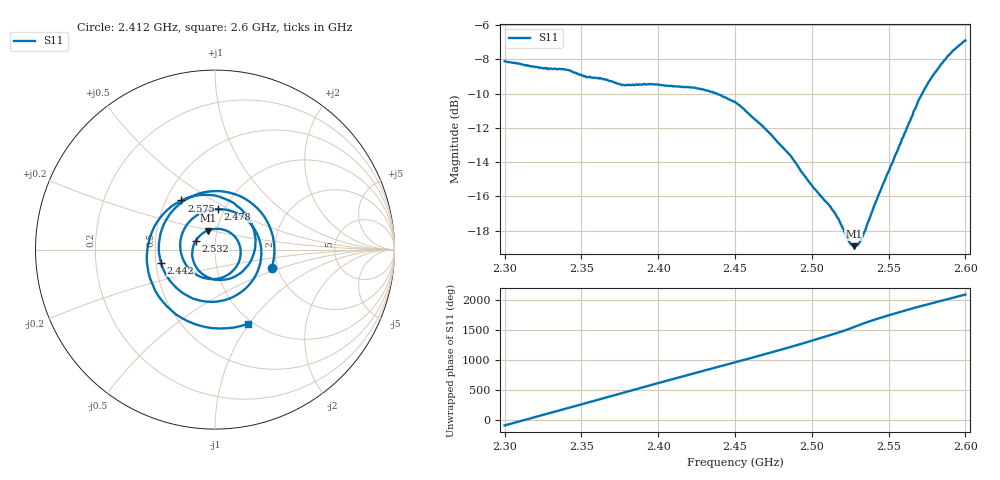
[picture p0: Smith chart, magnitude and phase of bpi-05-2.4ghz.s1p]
! NanoVNA-App
! Date: 2026-05-22 17:54:31
! Start: 2.3GHz Stop: 2.6GHz Points: 401
! S-Parameter data: F S11
# Hz S RI R 50
!  Frequency  S11_Real  S11_Imag
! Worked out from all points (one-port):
!   401 points, 2.3 GHz to 2.6 GHz, reference 50 ohm
!   lowest |S11| = -18.9 dB at 2.527 GHz (marker M1), VSWR 1.26, Z = 45.2 + j9.74 ohm
!   |S11| at or under -10 dB: 2.438 GHz to 2.572 GHz (133.7 MHz wide, 5.34 % of centre)
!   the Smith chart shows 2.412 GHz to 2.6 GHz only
!   S11 on the Smith chart (normalised r, x): 2.412 GHz: 1.86, -0.42; 2.442 GHz: 0.53, -0.09; 2.478 GHz: 0.93, +0.44; 2.532 GHz: 0.80, +0.08; 2.575 GHz: 0.60, +0.37; 2.6 GHz: 0.95, -0.99
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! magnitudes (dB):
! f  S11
! 2.3 GHz  -8.1
! 2.324 GHz  -8.5
! 2.337 GHz  -8.6
! 2.353 GHz  -9.0
! 2.364 GHz  -9.1
! 2.375 GHz  -9.4
! 2.412 GHz  -9.6
! 2.413 GHz  -9.6
! 2.428 GHz  -9.8
! 2.442 GHz  -10.2
! 2.45 GHz  -10.5
! 2.467 GHz  -11.8
! 2.478 GHz  -12.9
! 2.487 GHz  -13.8
! 2.499 GHz  -15.3
! 2.514 GHz  -16.8
! 2.518 GHz  -17.3
! 2.525 GHz  -18.7
! 2.527 GHz  -18.9
! 2.53 GHz  -18.9
! 2.532 GHz  -18.6
! 2.545 GHz  -15.5
! 2.562 GHz  -11.9
! 2.57 GHz  -10.3
! 2.575 GHz  -9.6
! 2.587 GHz  -8.0
! 2.593 GHz  -7.4
! 2.6 GHz  -6.9
